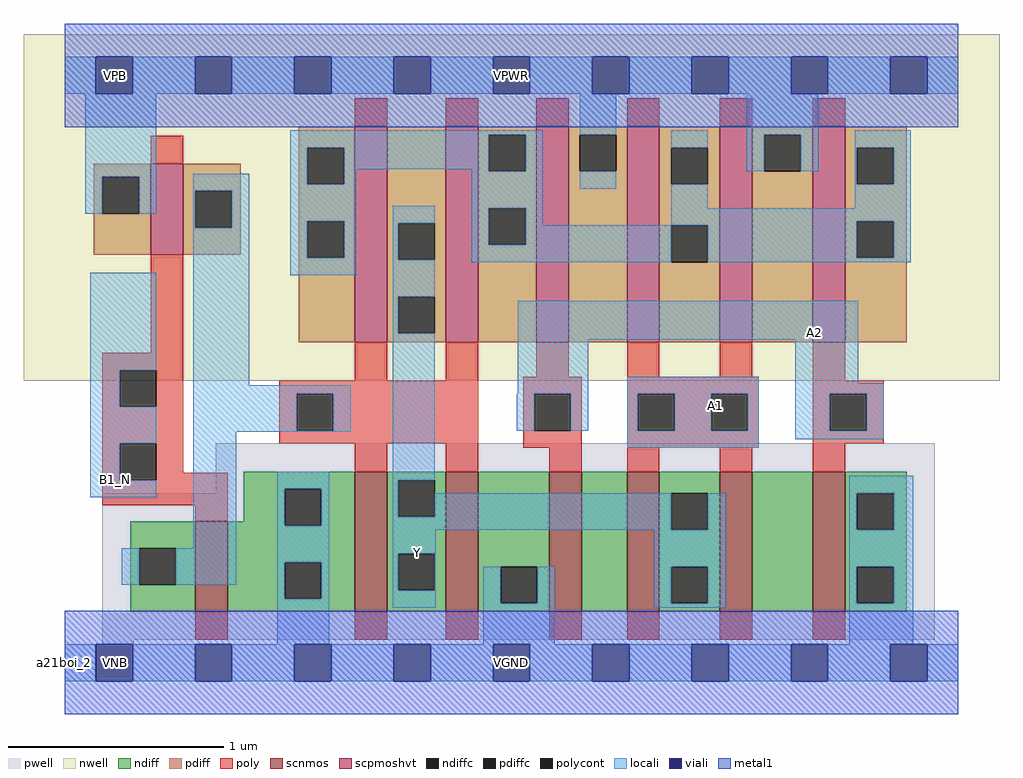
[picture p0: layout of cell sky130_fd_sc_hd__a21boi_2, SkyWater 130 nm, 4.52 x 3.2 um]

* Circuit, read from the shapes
.subckt sky130_fd_sc_hd__a21boi_2 A1 A2 B1_N VGND VNB VPB VPWR Y
XM1 VGND B1_N n1 VNB sky130_fd_pr__nfet_01v8 w=0.42 l=0.15
XM2 Y n1 VGND VNB sky130_fd_pr__nfet_01v8 w=0.65 l=0.15 m=2
XM3 n2 A2 VGND VNB sky130_fd_pr__nfet_01v8 w=0.65 l=0.15
XM4 Y A1 n2 VNB sky130_fd_pr__nfet_01v8 w=0.65 l=0.15
XM5 n3 A1 Y VNB sky130_fd_pr__nfet_01v8 w=0.65 l=0.15
XM6 VGND A2 n3 VNB sky130_fd_pr__nfet_01v8 w=0.65 l=0.15
XM7 n1 B1_N VPWR VPB sky130_fd_pr__pfet_01v8_hvt w=0.42 l=0.15
XM8 Y n1 n4 VPB sky130_fd_pr__pfet_01v8_hvt w=1 l=0.15 m=2
XM9 VPWR A2 n4 VPB sky130_fd_pr__pfet_01v8_hvt w=1 l=0.15 m=2
XM10 n4 A1 VPWR VPB sky130_fd_pr__pfet_01v8_hvt w=1 l=0.15 m=2
.ends

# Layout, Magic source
magic
tech sky130A
magscale 1 2
<< nwell >>
rect -38 261 866 582
<< pwell >>
rect 140 157 806 203
rect 35 21 806 157
rect 35 17 64 21
rect 30 -17 64 17
<< scnmos >>
rect 121 47 151 131
rect 269 47 299 177
rect 353 47 383 177
rect 449 47 479 177
rect 521 47 551 177
rect 607 47 637 177
rect 693 47 723 177
<< scpmoshvt >>
rect 80 378 110 462
rect 269 297 299 497
rect 353 297 383 497
rect 437 297 467 497
rect 521 297 551 497
rect 607 297 637 497
rect 693 297 723 497
<< ndiff >>
rect 166 161 269 177
rect 166 131 204 161
rect 61 106 121 131
rect 61 72 69 106
rect 103 72 121 106
rect 61 47 121 72
rect 151 127 204 131
rect 238 127 269 161
rect 151 93 269 127
rect 151 59 204 93
rect 238 59 269 93
rect 151 47 269 59
rect 299 169 353 177
rect 299 135 309 169
rect 343 135 353 169
rect 299 101 353 135
rect 299 67 309 101
rect 343 67 353 101
rect 299 47 353 67
rect 383 89 449 177
rect 383 55 404 89
rect 438 55 449 89
rect 383 47 449 55
rect 479 47 521 177
rect 551 157 607 177
rect 551 123 562 157
rect 596 123 607 157
rect 551 89 607 123
rect 551 55 562 89
rect 596 55 607 89
rect 551 47 607 55
rect 637 47 693 177
rect 723 157 780 177
rect 723 123 734 157
rect 768 123 780 157
rect 723 89 780 123
rect 723 55 734 89
rect 768 55 780 89
rect 723 47 780 55
<< pdiff >>
rect 217 477 269 497
rect 27 450 80 462
rect 27 416 35 450
rect 69 416 80 450
rect 27 378 80 416
rect 110 437 163 462
rect 110 403 121 437
rect 155 403 163 437
rect 110 378 163 403
rect 217 443 225 477
rect 259 443 269 477
rect 217 409 269 443
rect 217 375 225 409
rect 259 375 269 409
rect 217 297 269 375
rect 299 407 353 497
rect 299 373 309 407
rect 343 373 353 407
rect 299 339 353 373
rect 299 305 309 339
rect 343 305 353 339
rect 299 297 353 305
rect 383 489 437 497
rect 383 455 393 489
rect 427 455 437 489
rect 383 421 437 455
rect 383 387 393 421
rect 427 387 437 421
rect 383 297 437 387
rect 467 489 521 497
rect 467 455 477 489
rect 511 455 521 489
rect 467 297 521 455
rect 551 477 607 497
rect 551 443 562 477
rect 596 443 607 477
rect 551 405 607 443
rect 551 371 562 405
rect 596 371 607 405
rect 551 297 607 371
rect 637 489 693 497
rect 637 455 648 489
rect 682 455 693 489
rect 637 297 693 455
rect 723 477 780 497
rect 723 443 734 477
rect 768 443 780 477
rect 723 409 780 443
rect 723 375 734 409
rect 768 375 780 409
rect 723 297 780 375
<< ndiffc >>
rect 69 72 103 106
rect 204 127 238 161
rect 204 59 238 93
rect 309 135 343 169
rect 309 67 343 101
rect 404 55 438 89
rect 562 123 596 157
rect 562 55 596 89
rect 734 123 768 157
rect 734 55 768 89
<< pdiffc >>
rect 35 416 69 450
rect 121 403 155 437
rect 225 443 259 477
rect 225 375 259 409
rect 309 373 343 407
rect 309 305 343 339
rect 393 455 427 489
rect 393 387 427 421
rect 477 455 511 489
rect 562 443 596 477
rect 562 371 596 405
rect 648 455 682 489
rect 734 443 768 477
rect 734 375 768 409
<< poly >>
rect 269 497 299 523
rect 353 497 383 523
rect 437 497 467 523
rect 521 497 551 523
rect 607 497 637 523
rect 693 497 723 523
rect 80 462 110 488
rect 80 287 110 378
rect 35 271 110 287
rect 35 237 51 271
rect 85 237 110 271
rect 269 261 299 297
rect 353 261 383 297
rect 437 265 467 297
rect 521 265 551 297
rect 607 265 637 297
rect 35 203 110 237
rect 199 249 383 261
rect 199 215 215 249
rect 249 215 383 249
rect 199 203 383 215
rect 35 169 51 203
rect 85 176 110 203
rect 269 177 299 203
rect 353 177 383 203
rect 425 249 479 265
rect 425 215 435 249
rect 469 215 479 249
rect 425 199 479 215
rect 449 177 479 199
rect 521 249 643 265
rect 521 215 531 249
rect 565 215 599 249
rect 633 215 643 249
rect 521 199 643 215
rect 693 261 723 297
rect 693 249 759 261
rect 693 215 709 249
rect 743 215 759 249
rect 693 203 759 215
rect 521 177 551 199
rect 607 177 637 199
rect 693 177 723 203
rect 85 169 151 176
rect 35 146 151 169
rect 121 131 151 146
rect 121 21 151 47
rect 269 21 299 47
rect 353 21 383 47
rect 449 21 479 47
rect 521 21 551 47
rect 607 21 637 47
rect 693 21 723 47
<< polycont >>
rect 51 237 85 271
rect 215 215 249 249
rect 51 169 85 203
rect 435 215 469 249
rect 531 215 565 249
rect 599 215 633 249
rect 709 215 743 249
<< locali >>
rect 0 527 29 561
rect 63 527 121 561
rect 155 527 213 561
rect 247 527 305 561
rect 339 527 397 561
rect 431 527 489 561
rect 523 527 581 561
rect 615 527 673 561
rect 707 527 765 561
rect 799 527 828 561
rect 19 450 85 527
rect 209 489 443 493
rect 209 477 393 489
rect 19 416 35 450
rect 69 416 85 450
rect 119 437 171 453
rect 119 403 121 437
rect 155 403 171 437
rect 24 271 85 361
rect 24 237 51 271
rect 24 203 85 237
rect 24 169 51 203
rect 24 153 85 169
rect 119 257 171 403
rect 209 443 225 477
rect 259 457 393 477
rect 259 443 270 457
rect 209 409 270 443
rect 377 455 393 457
rect 427 455 443 489
rect 209 375 225 409
rect 259 375 270 409
rect 209 359 270 375
rect 304 407 343 423
rect 304 373 309 407
rect 304 339 343 373
rect 377 421 443 455
rect 477 489 511 527
rect 477 439 511 455
rect 562 477 596 493
rect 632 489 698 527
rect 632 455 648 489
rect 682 455 698 489
rect 732 477 784 493
rect 377 387 393 421
rect 427 405 443 421
rect 562 421 596 443
rect 732 443 734 477
rect 768 443 784 477
rect 732 421 784 443
rect 562 409 784 421
rect 562 405 734 409
rect 427 387 562 405
rect 377 371 562 387
rect 596 375 734 405
rect 768 375 784 409
rect 596 371 784 375
rect 304 305 309 339
rect 119 249 265 257
rect 119 215 215 249
rect 249 215 265 249
rect 119 214 265 215
rect 119 106 159 214
rect 53 72 69 106
rect 103 72 159 106
rect 197 161 245 177
rect 197 127 204 161
rect 238 127 245 161
rect 197 93 245 127
rect 197 59 204 93
rect 238 59 245 93
rect 197 17 245 59
rect 304 169 343 305
rect 420 299 735 335
rect 420 249 485 299
rect 419 215 435 249
rect 469 215 485 249
rect 521 249 643 265
rect 521 215 531 249
rect 565 215 599 249
rect 633 215 643 249
rect 521 199 643 215
rect 677 259 735 299
rect 677 249 759 259
rect 677 215 709 249
rect 743 215 759 249
rect 677 207 759 215
rect 304 135 309 169
rect 727 157 786 173
rect 343 135 562 157
rect 304 123 562 135
rect 596 123 612 157
rect 304 101 344 123
rect 304 67 309 101
rect 343 67 344 101
rect 546 89 612 123
rect 304 51 344 67
rect 388 55 404 89
rect 438 55 454 89
rect 388 17 454 55
rect 546 55 562 89
rect 596 55 612 89
rect 546 51 612 55
rect 727 123 734 157
rect 768 123 786 157
rect 727 89 786 123
rect 727 55 734 89
rect 768 55 786 89
rect 727 17 786 55
rect 0 -17 29 17
rect 63 -17 121 17
rect 155 -17 213 17
rect 247 -17 305 17
rect 339 -17 397 17
rect 431 -17 489 17
rect 523 -17 581 17
rect 615 -17 673 17
rect 707 -17 765 17
rect 799 -17 828 17
<< viali >>
rect 29 527 63 561
rect 121 527 155 561
rect 213 527 247 561
rect 305 527 339 561
rect 397 527 431 561
rect 489 527 523 561
rect 581 527 615 561
rect 673 527 707 561
rect 765 527 799 561
rect 29 -17 63 17
rect 121 -17 155 17
rect 213 -17 247 17
rect 305 -17 339 17
rect 397 -17 431 17
rect 489 -17 523 17
rect 581 -17 615 17
rect 673 -17 707 17
rect 765 -17 799 17
<< metal1 >>
rect 0 561 828 592
rect 0 527 29 561
rect 63 527 121 561
rect 155 527 213 561
rect 247 527 305 561
rect 339 527 397 561
rect 431 527 489 561
rect 523 527 581 561
rect 615 527 673 561
rect 707 527 765 561
rect 799 527 828 561
rect 0 496 828 527
rect 0 17 828 48
rect 0 -17 29 17
rect 63 -17 121 17
rect 155 -17 213 17
rect 247 -17 305 17
rect 339 -17 397 17
rect 431 -17 489 17
rect 523 -17 581 17
rect 615 -17 673 17
rect 707 -17 765 17
rect 799 -17 828 17
rect 0 -48 828 -17
<< labels >>
flabel pwell s 30 -17 64 17 0 FreeSans 200 0 0 0 VNB
port 5 nsew ground bidirectional
flabel nwell s 30 527 64 561 0 FreeSans 200 0 0 0 VPB
port 6 nsew power bidirectional
flabel metal1 s 30 527 64 561 0 FreeSans 200 0 0 0 VPWR
port 7 nsew power bidirectional abutment
flabel metal1 s 30 -17 64 17 0 FreeSans 200 0 0 0 VGND
port 4 nsew ground bidirectional abutment
flabel locali s 30 153 64 187 0 FreeSans 340 0 0 0 B1_N
port 3 nsew signal input
flabel locali s 678 289 712 323 0 FreeSans 340 0 0 0 A2
port 2 nsew signal input
flabel locali s 586 221 620 255 0 FreeSans 340 0 0 0 A1
port 1 nsew signal input
flabel locali s 310 85 344 119 0 FreeSans 340 0 0 0 Y
port 8 nsew signal output
rlabel comment s 0 0 0 0 4 a21boi_2
rlabel metal1 s 0 -48 828 48 1 VGND
port 4 nsew ground bidirectional abutment
rlabel metal1 s 0 496 828 592 1 VPWR
port 7 nsew power bidirectional abutment
<< properties >>
string FIXED_BBOX 0 0 828 544
string GDS_END 4001020
string GDS_FILE $PDKPATH/libs.ref/sky130_fd_sc_hd/gds/sky130_fd_sc_hd.gds
string GDS_START 3994388
string LEFclass CORE
string LEFsite unithd
string LEFsymmetry X Y R90
string path 0.000 13.600 20.700 13.600 
<< end >>
